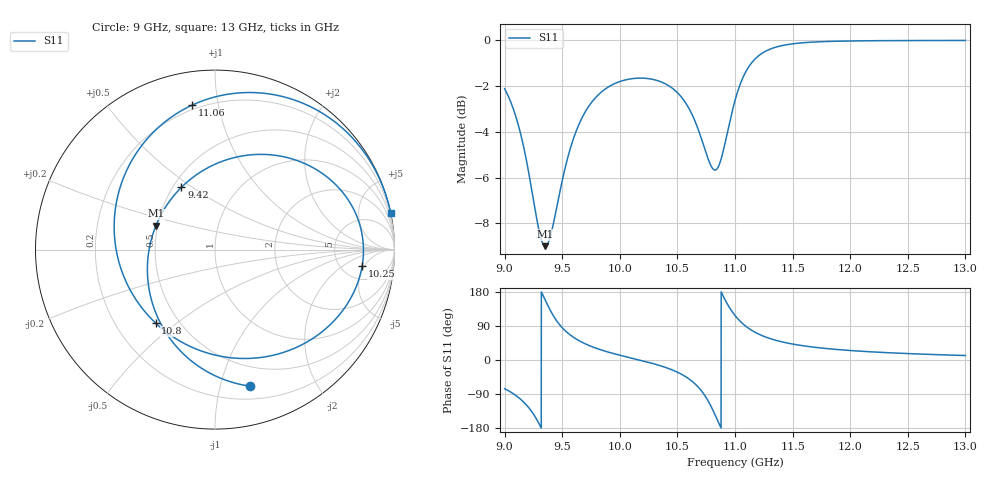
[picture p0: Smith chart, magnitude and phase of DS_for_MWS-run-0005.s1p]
! TOUCHSTONE file generated by CST DESIGN STUDIO
! Date and time: Tue Feb  4 16:44:44 2025
! Project name: C:\Work\MatlabApps\UnitCellOptimizationMatlab\CST\unitcell.cst
! Tree item: Tasks\Sweep1\SPara1\S-Parameters
! Header version: 2024
! Port assignment regex: !\s*Touchstone port\s*([0-9]+)\s*=\s*(CST MWS port|CST DES external port|CST DES block port)\s*(.+)\s* \(\"(.*)\"\)(\s*mode\s*([0-9]+))?.*
! Touchstone port assignment:
! Touchstone port 1 = CST DES external port 1 ("")
# GHz S MA R 50
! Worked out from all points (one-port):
!   4001 points, 9 GHz to 13 GHz, reference 50 ohm
!   lowest |S11| = -9.0 dB at 9.353 GHz (marker M1), VSWR 2.10, Z = 24.5 + j7.45 ohm
!   |S11| at or under -10 dB: nowhere
!   S11 on the Smith chart (normalised r, x): 9 GHz: 0.31, -1.24; 9.42 GHz: 0.55, +0.45; 10.25 GHz: 7.78, -4.50; 10.8 GHz: 0.37, -0.42; 11.06 GHz: 0.18, +0.84; 13 GHz: 0.01, +9.67
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9  0.7842 -75.8
9.087  0.6949 -91.3
9.164  0.5872 -110.6
9.265  0.4264 -149.7
9.353  0.3552 158.0
9.42  0.394 118.4
9.5  0.4937 85.3
9.596  0.6085 60.4
9.727  0.7159 39.0
10  0.8131 12.6
10.252  0.8249 -6.4
10.5  0.7689 -32.2
10.601  0.7097 -50.0
10.691  0.6284 -74.9
10.75  0.5666 -99.4
10.803  0.5261 -129.0
10.854  0.529 -162.8
10.899  0.575 167.7
10.945  0.6483 141.8
11  0.7393 117.5
11.056  0.815 99.0
11.135  0.8871 80.2
11.248  0.9417 62.7
11.361  0.9677 51.4
11.5  0.983 42.1
12  0.9972 25.0
12.5  0.9993 16.9
13  0.9998 11.8
